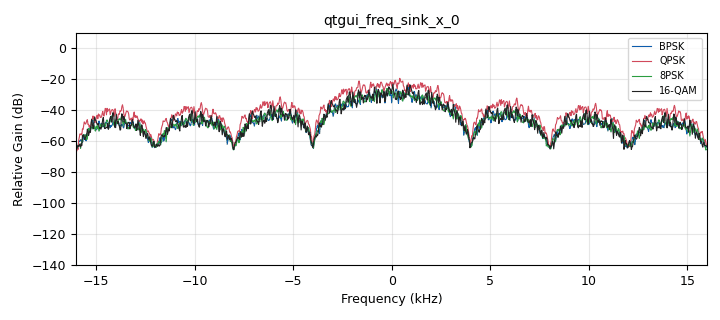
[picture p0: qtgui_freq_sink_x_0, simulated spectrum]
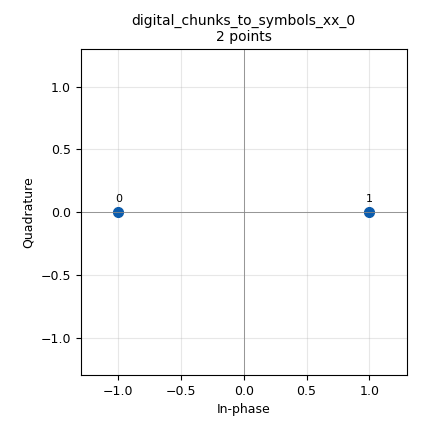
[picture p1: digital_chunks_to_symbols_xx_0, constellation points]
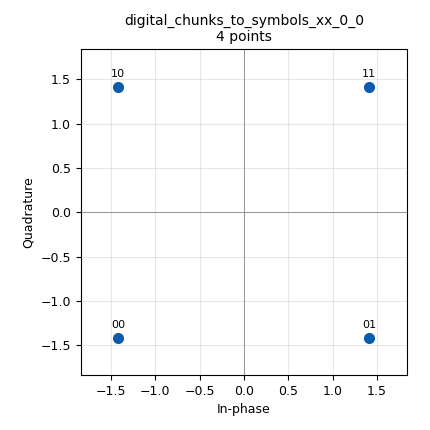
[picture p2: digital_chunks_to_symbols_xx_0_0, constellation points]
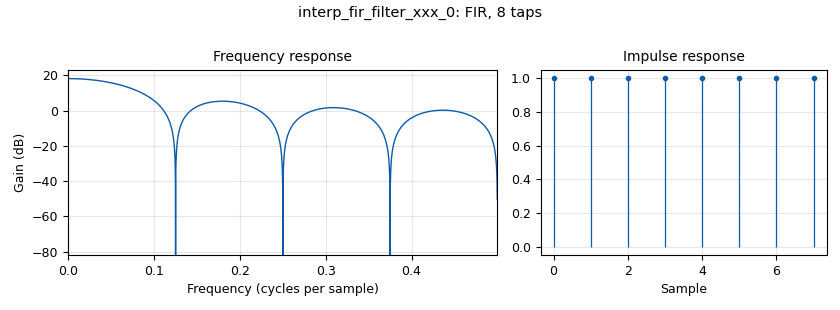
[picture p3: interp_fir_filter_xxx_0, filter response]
options:
  parameters:
    author: Carolay Castellanos, Dylan Villalba, Luis Rosas
    generate_options: qt_gui
    id: MZ
    output_language: python
    title: Prac2 FaseII
  states: {}

blocks:
- name: BW
  id: variable
  parameters:
    value: '16000'
  states: {}
- name: M0
  id: variable
  parameters:
    value: len(constelacion0)
  states: {}
- name: M1
  id: variable
  parameters:
    value: len(constelacion1)
  states: {}
- name: M2
  id: variable
  parameters:
    value: len(constelacion2)
  states: {}
- name: M3
  id: variable
  parameters:
    value: len(constelacion3)
  states: {}
- name: Nlob
  id: variable
  parameters:
    value: '8'
  states: {}
- name: Rb0
  id: variable
  parameters:
    value: Rs*bps0
  states: {}
- name: Rb1
  id: variable
  parameters:
    value: Rs*bps1
  states: {}
- name: Rb2
  id: variable
  parameters:
    value: Rs*bps2
  states: {}
- name: Rb3
  id: variable
  parameters:
    value: Rs*bps3
  states: {}
- name: Rs
  id: variable
  parameters:
    value: '4000'
  states: {}
- name: Sps
  id: variable
  parameters:
    value: '8'
  states: {}
- name: bps0
  id: variable
  parameters:
    value: int(math.log(M0,2))
  states: {}
- name: bps1
  id: variable
  parameters:
    value: int(math.log(M1,2))
  states: {}
- name: bps2
  id: variable
  parameters:
    value: int(math.log(M2,2))
  states: {}
- name: bps3
  id: variable
  parameters:
    value: int(math.log(M3,2))
  states: {}
- name: constelacion0
  id: variable
  parameters:
    value: digital.constellation_bpsk().points()
  states: {}
- name: constelacion1
  id: variable
  parameters:
    value: digital.constellation_qpsk().points()
  states: {}
- name: constelacion2
  id: variable
  parameters:
    value: digital.constellation_8psk().points()
  states: {}
- name: constelacion3
  id: variable
  parameters:
    value: digital.constellation_16qam().points()
  states: {}
- name: h
  id: variable
  parameters:
    value: '[1]*Sps'
  states: {}
- name: samp_rate
  id: variable
  parameters:
    value: Rs*Sps
  states: {}
- name: variable_0
  id: variable
  parameters:
    value: '0'
  states: {}
- name: analog_noise_source_x_0
  id: analog_noise_source_x
  parameters:
    amp: '0.05'
    noise_type: analog.GR_GAUSSIAN
    seed: '0'
    type: complex
  states: {}
- name: analog_noise_source_x_0_0
  id: analog_noise_source_x
  parameters:
    amp: '0.05'
    noise_type: analog.GR_GAUSSIAN
    seed: '0'
    type: complex
  states: {}
- name: analog_noise_source_x_0_0_0
  id: analog_noise_source_x
  parameters:
    amp: '0.05'
    noise_type: analog.GR_GAUSSIAN
    seed: '0'
    type: complex
  states: {}
- name: analog_noise_source_x_0_0_1
  id: analog_noise_source_x
  parameters:
    amp: '0.050'
    noise_type: analog.GR_GAUSSIAN
    seed: '0'
    type: complex
  states: {}
- name: analog_random_source_x_0
  id: analog_random_source_x
  parameters:
    max: '2'
    min: '0'
    num_samps: '1000'
    repeat: 'True'
    type: byte
  states: {}
- name: blocks_add_xx_0
  id: blocks_add_xx
  parameters:
    type: complex
  states: {}
- name: blocks_add_xx_0_0
  id: blocks_add_xx
  parameters:
    type: complex
  states: {}
- name: blocks_add_xx_0_0_0
  id: blocks_add_xx
  parameters:
    type: complex
  states: {}
- name: blocks_add_xx_0_0_1
  id: blocks_add_xx
  parameters:
    type: complex
  states: {}
- name: blocks_pack_k_bits_bb_0
  id: blocks_pack_k_bits_bb
  parameters:
    k: '8'
  states: {}
- name: blocks_packed_to_unpacked_xx_0
  id: blocks_packed_to_unpacked_xx
  parameters:
    bits_per_chunk: bps0
    endianness: gr.GR_MSB_FIRST
    type: byte
  states: {}
- name: blocks_packed_to_unpacked_xx_0_0
  id: blocks_packed_to_unpacked_xx
  parameters:
    bits_per_chunk: bps1
    endianness: gr.GR_MSB_FIRST
    type: byte
  states: {}
- name: blocks_packed_to_unpacked_xx_0_0_0
  id: blocks_packed_to_unpacked_xx
  parameters:
    bits_per_chunk: bps2
    endianness: gr.GR_MSB_FIRST
    type: byte
  states: {}
- name: blocks_packed_to_unpacked_xx_0_0_1
  id: blocks_packed_to_unpacked_xx
  parameters:
    bits_per_chunk: bps3
    endianness: gr.GR_MSB_FIRST
    type: byte
  states: {}
- name: blocks_throttle_0
  id: blocks_throttle
  parameters:
    samples_per_second: samp_rate
    type: complex
  states: {}
- name: blocks_throttle_1
  id: blocks_throttle
  parameters:
    samples_per_second: samp_rate
    type: complex
  states: {}
- name: blocks_throttle_1_0
  id: blocks_throttle
  parameters:
    samples_per_second: samp_rate
    type: complex
  states: {}
- name: blocks_throttle_1_1
  id: blocks_throttle
  parameters:
    samples_per_second: samp_rate
    type: complex
  states: {}
- name: digital_chunks_to_symbols_xx_0
  id: digital_chunks_to_symbols_xx
  parameters:
    dimension: '1'
    in_type: byte
    out_type: complex
    symbol_table: constelacion0
  states: {}
- name: digital_chunks_to_symbols_xx_0_0
  id: digital_chunks_to_symbols_xx
  parameters:
    dimension: '1'
    in_type: byte
    out_type: complex
    symbol_table: constelacion1
  states: {}
- name: digital_chunks_to_symbols_xx_0_0_0
  id: digital_chunks_to_symbols_xx
  parameters:
    dimension: '1'
    in_type: byte
    out_type: complex
    symbol_table: constelacion2
  states: {}
- name: digital_chunks_to_symbols_xx_0_0_1
  id: digital_chunks_to_symbols_xx
  parameters:
    dimension: '1'
    in_type: byte
    out_type: complex
    symbol_table: constelacion3
  states: {}
- name: import_0
  id: import
  parameters:
    imports: import math
  states: {}
- name: import_0_0
  id: import
  parameters:
    imports: from gnuradio import digital
  states: {}
- name: interp_fir_filter_xxx_0
  id: interp_fir_filter_xxx
  parameters:
    interp: Sps
    taps: h
    type: ccf
  states: {}
- name: interp_fir_filter_xxx_0_0
  id: interp_fir_filter_xxx
  parameters:
    interp: Sps
    taps: h
    type: ccf
  states: {}
- name: interp_fir_filter_xxx_0_0_0
  id: interp_fir_filter_xxx
  parameters:
    interp: Sps
    taps: h
    type: ccf
  states: {}
- name: interp_fir_filter_xxx_0_0_1
  id: interp_fir_filter_xxx
  parameters:
    interp: Sps
    taps: h
    type: ccf
  states: {}
- name: qtgui_const_sink_x_0
  id: qtgui_const_sink_x
  parameters:
    alpha1: '5'
    autoscale: 'True'
    color2: '"magenta"'
    label1: BPSK
    label2: QPSK
    label3: 8PSK
    label4: 16-QAM
    marker1: '2'
    marker2: '2'
    marker3: '2'
    marker4: '2'
    nconnections: '4'
    size: '1024'
    type: complex
  states: {state: disabled}
- name: qtgui_freq_sink_x_0
  id: qtgui_freq_sink_x
  parameters:
    average: '0.05'
    bw: samp_rate
    color2: '"magenta"'
    fc: '0'
    fftsize: '1024'
    label1: BPSK
    label2: QPSK
    label3: 8PSK
    label4: 16-QAM
    nconnections: '4'
    type: complex
    width1: '3'
    width2: '3'
    width3: '3'
    width4: '3'
  states: {}
- name: qtgui_time_sink_x_0
  id: qtgui_time_sink_x
  parameters:
    nconnections: '4'
    size: '1024'
    srate: samp_rate
    type: complex
  states: {state: disabled}
- name: virtual_sink_0
  id: virtual_sink
  parameters:
    stream_id: p0
  states: {}
- name: virtual_sink_0_1
  id: virtual_sink
  parameters:
    stream_id: p1
  states: {}
- name: virtual_sink_0_1_0
  id: virtual_sink
  parameters:
    stream_id: p2
  states: {}
- name: virtual_sink_0_1_1
  id: virtual_sink
  parameters:
    stream_id: p3
  states: {}
- name: virtual_source_0
  id: virtual_source
  parameters:
    stream_id: p2
  states: {}
- name: virtual_source_0_0
  id: virtual_source
  parameters:
    stream_id: p0
  states: {}
- name: virtual_source_0_0_0
  id: virtual_source
  parameters:
    stream_id: p1
  states: {}
- name: virtual_source_0_1
  id: virtual_source
  parameters:
    stream_id: p3
  states: {}

connections:
- [analog_noise_source_x_0, '0', blocks_add_xx_0, '0']
- [analog_noise_source_x_0_0, '0', blocks_add_xx_0_0, '0']
- [analog_noise_source_x_0_0_0, '0', blocks_add_xx_0_0_0, '0']
- [analog_noise_source_x_0_0_1, '0', blocks_add_xx_0_0_1, '0']
- [analog_random_source_x_0, '0', blocks_pack_k_bits_bb_0, '0']
- [blocks_add_xx_0, '0', virtual_sink_0, '0']
- [blocks_add_xx_0_0, '0', virtual_sink_0_1, '0']
- [blocks_add_xx_0_0_0, '0', virtual_sink_0_1_0, '0']
- [blocks_add_xx_0_0_1, '0', virtual_sink_0_1_1, '0']
- [blocks_pack_k_bits_bb_0, '0', blocks_packed_to_unpacked_xx_0, '0']
- [blocks_pack_k_bits_bb_0, '0', blocks_packed_to_unpacked_xx_0_0, '0']
- [blocks_pack_k_bits_bb_0, '0', blocks_packed_to_unpacked_xx_0_0_0, '0']
- [blocks_pack_k_bits_bb_0, '0', blocks_packed_to_unpacked_xx_0_0_1, '0']
- [blocks_packed_to_unpacked_xx_0, '0', digital_chunks_to_symbols_xx_0, '0']
- [blocks_packed_to_unpacked_xx_0_0, '0', digital_chunks_to_symbols_xx_0_0, '0']
- [blocks_packed_to_unpacked_xx_0_0_0, '0', digital_chunks_to_symbols_xx_0_0_0, '0']
- [blocks_packed_to_unpacked_xx_0_0_1, '0', digital_chunks_to_symbols_xx_0_0_1, '0']
- [blocks_throttle_0, '0', blocks_add_xx_0, '1']
- [blocks_throttle_1, '0', blocks_add_xx_0_0, '1']
- [blocks_throttle_1_0, '0', blocks_add_xx_0_0_0, '1']
- [blocks_throttle_1_1, '0', blocks_add_xx_0_0_1, '1']
- [digital_chunks_to_symbols_xx_0, '0', interp_fir_filter_xxx_0, '0']
- [digital_chunks_to_symbols_xx_0_0, '0', interp_fir_filter_xxx_0_0, '0']
- [digital_chunks_to_symbols_xx_0_0_0, '0', interp_fir_filter_xxx_0_0_0, '0']
- [digital_chunks_to_symbols_xx_0_0_1, '0', interp_fir_filter_xxx_0_0_1, '0']
- [interp_fir_filter_xxx_0, '0', blocks_throttle_0, '0']
- [interp_fir_filter_xxx_0_0, '0', blocks_throttle_1, '0']
- [interp_fir_filter_xxx_0_0_0, '0', blocks_throttle_1_0, '0']
- [interp_fir_filter_xxx_0_0_1, '0', blocks_throttle_1_1, '0']
- [virtual_source_0, '0', qtgui_const_sink_x_0, '2']
- [virtual_source_0, '0', qtgui_freq_sink_x_0, '2']
- [virtual_source_0, '0', qtgui_time_sink_x_0, '2']
- [virtual_source_0_0, '0', qtgui_const_sink_x_0, '0']
- [virtual_source_0_0, '0', qtgui_freq_sink_x_0, '0']
- [virtual_source_0_0, '0', qtgui_time_sink_x_0, '0']
- [virtual_source_0_0_0, '0', qtgui_const_sink_x_0, '1']
- [virtual_source_0_0_0, '0', qtgui_freq_sink_x_0, '1']
- [virtual_source_0_0_0, '0', qtgui_time_sink_x_0, '1']
- [virtual_source_0_1, '0', qtgui_const_sink_x_0, '3']
- [virtual_source_0_1, '0', qtgui_freq_sink_x_0, '3']
- [virtual_source_0_1, '0', qtgui_time_sink_x_0, '3']

metadata:
  file_format: 1
